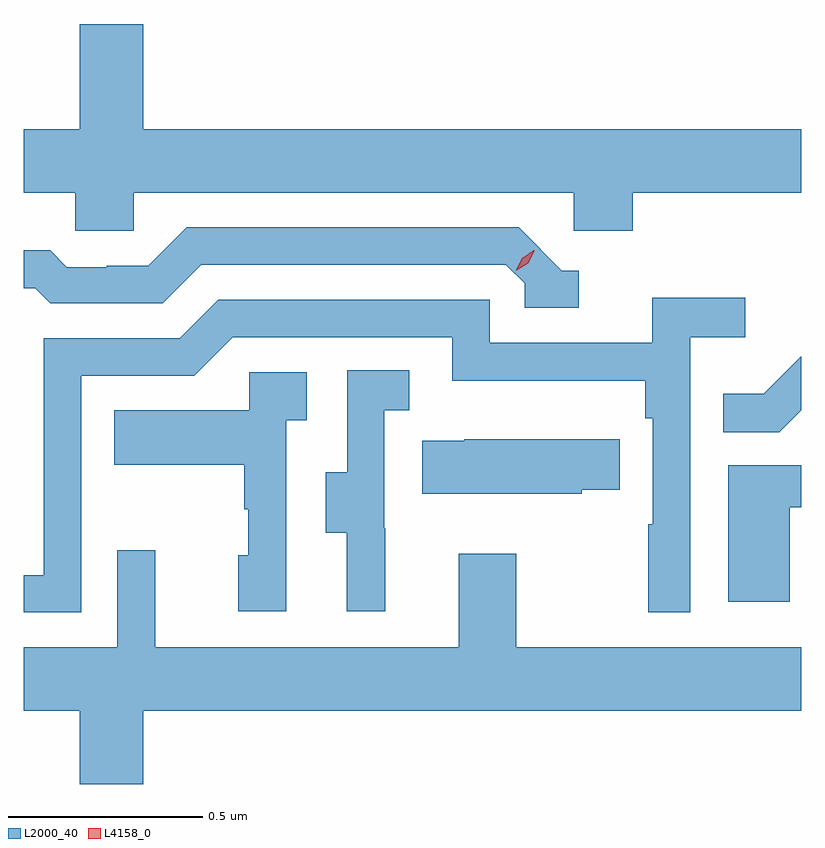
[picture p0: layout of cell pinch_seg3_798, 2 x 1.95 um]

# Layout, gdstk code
import gdstk
lib = gdstk.Library(unit=1e-6, precision=1e-09)
def P(c, l, *ps):  # polygons
    for p in ps: c.add(gdstk.Polygon(p, *l))
L2000_40 = (2000, 40)
L4158_0 = (4158, 0)

pinch_seg3_798 = lib.new_cell('pinch_seg3_798')
P(pinch_seg3_798, L2000_40, [(812.499,727.556),(813.63,727.556),(813.63,727.458),(813.782,727.458),(813.782,727.556),(814.216,727.556),(814.216,727.72),(812.524,727.72),(812.524,727.99),(812.36,727.99),(812.36,727.72),(812.216,727.72),(812.216,727.556),(812.349,727.556),(812.349,727.458),(812.499,727.458)],
  [(813.643,727.356),(813.6,727.356),(813.489,727.467),(812.636,727.467),(812.537,727.368),(812.43,727.368),(812.43,727.365),(812.327,727.365),(812.285,727.408),(812.216,727.408),(812.216,727.311),(812.246,727.311),(812.285,727.272),(812.574,727.272),(812.673,727.371),(813.456,727.371),(813.504,727.323),(813.504,727.26),(813.643,727.26)],
  [(812.364,727.086),(812.655,727.086),(812.754,727.185),(813.318,727.185),(813.318,727.073),(813.814,727.073),(813.814,726.977),(813.834,726.977),(813.834,726.704),(813.822,726.704),(813.822,726.477),(813.93,726.477),(813.93,727.184),(814.072,727.184),(814.072,727.286),(813.833,727.286),(813.833,727.17),(813.414,727.17),(813.414,727.281),(812.717,727.281),(812.618,727.182),(812.268,727.182),(812.268,726.573),(812.216,726.573),(812.216,726.477),(812.364,726.477)],
  [(814.216,726.997),(814.216,727.136),(814.119,727.039),(814.015,727.039),(814.015,726.94),(814.159,726.94)],
  [(813.146,726.693),(813.144,726.693),(813.144,726.997),(813.208,726.997),(813.208,727.1),(813.048,727.1),(813.048,726.837),(812.993,726.837),(812.993,726.682),(813.047,726.682),(813.047,726.48),(813.146,726.48)],
  [(812.892,726.971),(812.944,726.971),(812.944,727.095),(812.796,727.095),(812.796,726.997),(812.449,726.997),(812.449,726.857),(812.784,726.857),(812.784,726.743),(812.794,726.743),(812.794,726.624),(812.768,726.624),(812.768,726.48),(812.892,726.48)],
  [(813.651,726.793),(813.749,726.793),(813.749,726.922),(813.349,726.922),(813.349,726.919),(813.241,726.919),(813.241,726.782),(813.651,726.782)],
  [(814.186,726.747),(814.216,726.747),(814.216,726.855),(814.028,726.855),(814.028,726.504),(814.186,726.504)],
  [(812.524,726.224),(814.216,726.224),(814.216,726.388),(813.483,726.388),(813.483,726.628),(813.335,726.628),(813.335,726.388),(812.555,726.388),(812.555,726.637),(812.457,726.637),(812.457,726.388),(812.216,726.388),(812.216,726.224),(812.36,726.224),(812.36,726.036),(812.524,726.036)])
P(pinch_seg3_798, L4158_0, [(813.482,727.355),(813.482,727.356),(813.498,727.388),(813.528,727.408),(813.529,727.408),(813.529,727.407),(813.513,727.375),(813.482,727.355)])

lib.write_gds('pinch_seg3_798.gds')
